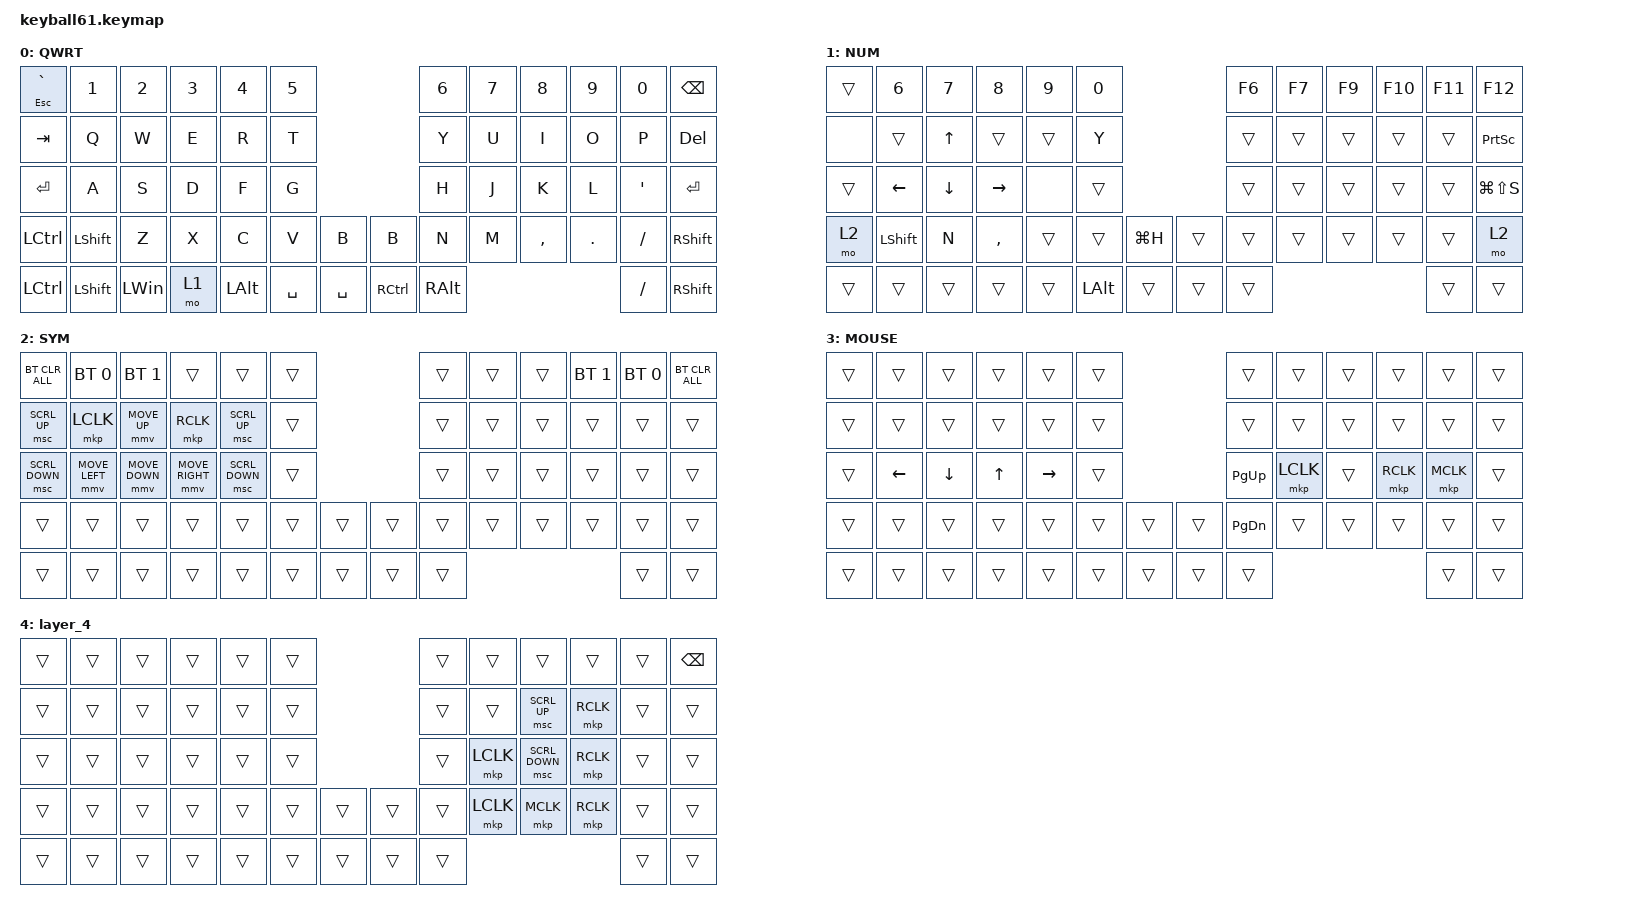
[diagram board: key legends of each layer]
#define DEFAULT 0
#define SYM     1
#define FUN     2
#define MOUSE   3
#define SCROLL  4
#define SNIPE   5

#include <behaviors/mouse_keys.dtsi>
#include <dt-bindings/zmk/mouse.h>
#include <behaviors.dtsi>
#include <dt-bindings/zmk/bt.h>
#include <dt-bindings/zmk/keys.h>
#include <dt-bindings/zmk/pointing.h>

/ {
    combos {
        compatible = "zmk,combos";

        leftbackdouble {
            bindings = <&kp BACKSPACE>;
            key-positions = <0 1>;
            timeout-ms = <50>;
            layers = <0>;
        };

        leftdeletedouble {
            bindings = <&kp DELETE>;
            key-positions = <12 13>;
            timeout-ms = <50>;
            layers = <0>;
        };

        f1double {
            bindings = <&kp F1>;
            key-positions = <13 1>;
            timeout-ms = <50>;
            layers = <0>;
        };

        f2double {
            bindings = <&kp F2>;
            key-positions = <2 14>;
            timeout-ms = <50>;
            layers = <0>;
        };

        f3double {
            bindings = <&kp F3>;
            key-positions = <3 15>;
            timeout-ms = <50>;
            layers = <0>;
        };

        f4double {
            bindings = <&kp F4>;
            key-positions = <4 16>;
            timeout-ms = <50>;
            layers = <0>;
        };

        f5double {
            bindings = <&kp F5>;
            key-positions = <5 17>;
            timeout-ms = <50>;
            layers = <0>;
        };

        hangeuldouble {
            bindings = <&kp RIGHT_ALT>;
            key-positions = <54 55>;
            timeout-ms = <50>;
            layers = <0>;
        };

        hanjadouble {
            bindings = <&kp RCTRL>;
            key-positions = <55 56>;
            timeout-ms = <50>;
            layers = <0>;
        };

        leftdouble6 {
            bindings = <&kp NUMBER_6>;
            key-positions = <1 2>;
            timeout-ms = <50>;
            layers = <0>;
        };

        leftdouble7 {
            bindings = <&kp N7>;
            key-positions = <2 3>;
            timeout-ms = <50>;
            layers = <0>;
        };

        leftdouble8 {
            bindings = <&kp N8>;
            key-positions = <4 3>;
            timeout-ms = <50>;
            layers = <0>;
        };

        leftdouble9 {
            bindings = <&kp N9>;
            key-positions = <4 5>;
            timeout-ms = <50>;
            layers = <0>;
        };

        leftdouble0 {
            bindings = <&kp N0>;
            key-positions = <17 5 16 4>;
            timeout-ms = <50>;
            layers = <0>;
        };

        closeprogram {
            bindings = <&kp LA(F4)>;
            key-positions = <4 55 54>;
            timeout-ms = <50>;
            layers = <0>;
        };

        minus {
            bindings = <&kp MINUS>;
            key-positions = <9 21>;
            timeout-ms = <50>;
            layers = <0>;
        };

        plus {
            bindings = <&kp EQUAL>;
            key-positions = <10 22>;
            timeout-ms = <50>;
            layers = <0>;
        };

        dot3win11ver {
            bindings = <&dot3winw11>;
            key-positions = <47 48>;
            timeout-ms = <50>;
            layers = <0>;
        };

        colon {
            bindings = <&kp SEMI>;
            key-positions = <22 23>;
            timeout-ms = <50>;
            layers = <0>;
        };
    };

    macros {
        dot3winw11: dot3winw11 {
            compatible = "zmk,behavior-macro";
            #binding-cells = <0>;
            bindings =
                <&macro_press>,
                <&kp LEFT_ALT>,
                <&macro_wait_time 10>,
                <&macro_tap>,
                <&kp KP_NUMBER_0 &kp KP_NUMBER_1 &kp KP_NUMBER_3 &kp KP_NUMBER_3>,
                <&macro_release>,
                <&kp LEFT_ALT>;

            label = "DOT3WINW11";
        };
    };

    keymap {
        compatible = "zmk,keymap";

        default_layer {
            label = "QWRT";
            bindings = <
&mt ESC GRAVE  &kp N1          &kp N2        &kp N3  &kp N4        &kp N5                           &kp N6         &kp N7  &kp N8     &kp N9   &kp N0     &kp BSPC
&kp TAB        &kp Q           &kp W         &kp E   &kp R         &kp T                            &kp Y          &kp U   &kp I      &kp O    &kp P      &kp DELETE
&kp ENTER      &kp A           &kp S         &kp D   &kp F         &kp G                            &kp H          &kp J   &kp K      &kp L    &kp SQT    &kp ENTER
&kp LCTRL      &kp LEFT_SHIFT  &kp Z         &kp X   &kp C         &kp V      &kp B      &kp B      &kp N          &kp M   &kp COMMA  &kp DOT  &kp FSLH   &kp RIGHT_SHIFT
&kp LCTRL      &kp LEFT_SHIFT  &kp LEFT_WIN  &mo 1   &kp LEFT_ALT  &kp SPACE  &kp SPACE  &kp RCTRL  &kp RIGHT_ALT                              &kp SLASH  &kp RIGHT_SHIFT
            >;
        };

        number_layer {
            bindings = <
&trans  &kp NUMBER_6    &kp N7        &kp N8     &kp N9  &kp N0                           &kp F6  &kp F7  &kp F9  &kp F10  &kp F11  &kp F12
&none   &trans          &kp UP_ARROW  &trans     &trans  &kp Y                            &trans  &trans  &trans  &trans   &trans   &kp PRINTSCREEN
&trans  &kp LEFT        &kp DOWN      &kp RIGHT  &none   &trans                           &trans  &trans  &trans  &trans   &trans   &kp LG(LS(S))
&mo 2   &kp LEFT_SHIFT  &kp N         &kp COMMA  &trans  &trans        &kp LG(H)  &trans  &trans  &trans  &trans  &trans   &trans   &mo 2
&trans  &trans          &trans        &trans     &trans  &kp LEFT_ALT  &trans     &trans  &trans                           &trans   &trans
            >;

            label = "NUM";
        };

        symbol_layer {
            label = "SYM";
            bindings = <
&bt BT_CLR_ALL  &bt BT_SEL 0    &bt BT_SEL 1    &trans           &trans          &trans                  &trans  &trans  &trans  &bt BT_SEL 1  &bt BT_SEL 0  &bt BT_CLR_ALL
&msc SCRL_UP    &mkp LCLK       &mmv MOVE_UP    &mkp RCLK        &msc SCRL_UP    &trans                  &trans  &trans  &trans  &trans        &trans        &trans
&msc SCRL_DOWN  &mmv MOVE_LEFT  &mmv MOVE_DOWN  &mmv MOVE_RIGHT  &msc SCRL_DOWN  &trans                  &trans  &trans  &trans  &trans        &trans        &trans
&trans          &trans          &trans          &trans           &trans          &trans  &trans  &trans  &trans  &trans  &trans  &trans        &trans        &trans
&trans          &trans          &trans          &trans           &trans          &trans  &trans  &trans  &trans                                &trans        &trans
            >;
        };

        mouse_layer {
            label = "MOUSE";
            bindings = <
&trans  &trans    &trans    &trans  &trans     &trans                  &trans         &trans     &trans  &trans     &trans     &trans
&trans  &trans    &trans    &trans  &trans     &trans                  &trans         &trans     &trans  &trans     &trans     &trans
&trans  &kp LEFT  &kp DOWN  &kp UP  &kp RIGHT  &trans                  &kp PAGE_UP    &mkp LCLK  &trans  &mkp RCLK  &mkp MCLK  &trans
&trans  &trans    &trans    &trans  &trans     &trans  &trans  &trans  &kp PAGE_DOWN  &trans     &trans  &trans     &trans     &trans
&trans  &trans    &trans    &trans  &trans     &trans  &trans  &trans  &trans                                       &trans     &trans
            >;
        };

        layer_4 {
            bindings = <
&trans  &trans  &trans  &trans  &trans  &trans                  &trans  &trans     &trans          &trans     &trans  &kp BACKSPACE
&trans  &trans  &trans  &trans  &trans  &trans                  &trans  &trans     &msc SCRL_UP    &mkp RCLK  &trans  &trans
&trans  &trans  &trans  &trans  &trans  &trans                  &trans  &mkp LCLK  &msc SCRL_DOWN  &mkp RCLK  &trans  &trans
&trans  &trans  &trans  &trans  &trans  &trans  &trans  &trans  &trans  &mkp LCLK  &mkp MCLK       &mkp RCLK  &trans  &trans
&trans  &trans  &trans  &trans  &trans  &trans  &trans  &trans  &trans                                        &trans  &trans
            >;
        };
    };
};
